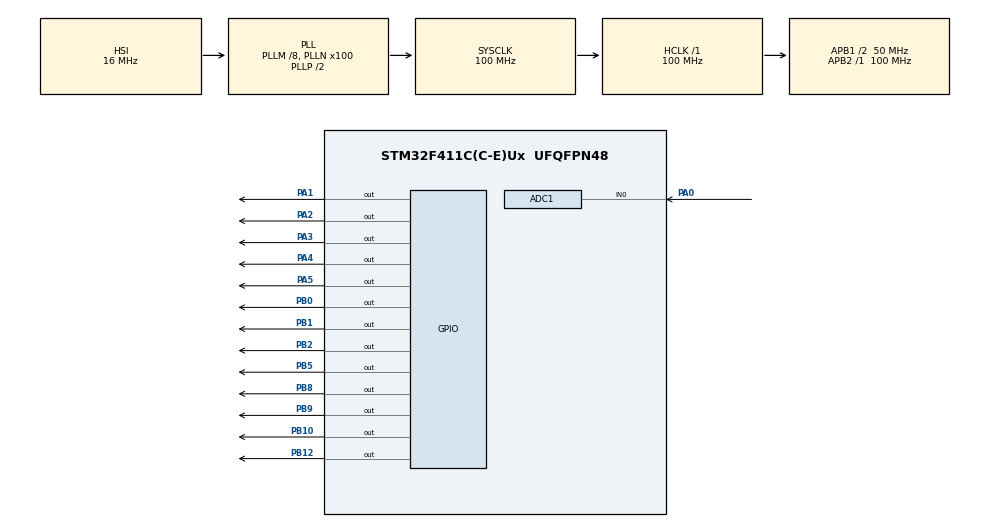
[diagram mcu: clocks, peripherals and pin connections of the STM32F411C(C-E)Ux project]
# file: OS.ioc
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ADC1.Channel-0\#ChannelRegularConversion=ADC_CHANNEL_0
ADC1.DMAContinuousRequests=ENABLE
ADC1.ExternalTrigConv=ADC_EXTERNALTRIGCONV_T2_TRGO
ADC1.NbrOfConversionFlag=1
ADC1.Rank-0\#ChannelRegularConversion=1
ADC1.SamplingTime-0\#ChannelRegularConversion=ADC_SAMPLETIME_3CYCLES
ADC1.master=1
Dma.ADC1.0.Direction=DMA_PERIPH_TO_MEMORY
Dma.ADC1.0.FIFOMode=DMA_FIFOMODE_DISABLE
Dma.ADC1.0.Instance=DMA2_Stream0
Dma.ADC1.0.MemDataAlignment=DMA_MDATAALIGN_HALFWORD
Dma.ADC1.0.MemInc=DMA_MINC_ENABLE
Dma.ADC1.0.Mode=DMA_CIRCULAR
Dma.ADC1.0.PeriphDataAlignment=DMA_PDATAALIGN_HALFWORD
Dma.ADC1.0.PeriphInc=DMA_PINC_DISABLE
Dma.ADC1.0.Priority=DMA_PRIORITY_LOW
Dma.Request0=ADC1
Mcu.Family=STM32F4
Mcu.Name=STM32F411C(C-E)Ux
Mcu.Package=UFQFPN48
NVIC.DMA2_Stream0_IRQn=true\:0\:0\:false\:false\:true\:false\:true\:true
NVIC.PriorityGroup=NVIC_PRIORITYGROUP_4
PA0-WKUP.Signal=ADCx_IN0
PA1.GPIO_Speed=GPIO_SPEED_FREQ_HIGH
PA1.PinState=GPIO_PIN_RESET
PA1.Signal=GPIO_Output
PA13.Mode=Serial_Wire
PA13.Signal=SYS_JTMS-SWDIO
PA14.Mode=Serial_Wire
PA14.Signal=SYS_JTCK-SWCLK
PA2.GPIO_Speed=GPIO_SPEED_FREQ_HIGH
PA2.PinState=GPIO_PIN_RESET
PA2.Signal=GPIO_Output
PA3.GPIO_Speed=GPIO_SPEED_FREQ_HIGH
PA3.Signal=GPIO_Output
PA4.GPIO_Speed=GPIO_SPEED_FREQ_HIGH
PA4.Signal=GPIO_Output
PA5.GPIO_Speed=GPIO_SPEED_FREQ_HIGH
PA5.Signal=GPIO_Output
PB0.GPIO_Speed=GPIO_SPEED_FREQ_HIGH
PB0.Signal=GPIO_Output
PB1.GPIO_Speed=GPIO_SPEED_FREQ_HIGH
PB1.Signal=GPIO_Output
PB10.GPIO_Speed=GPIO_SPEED_FREQ_HIGH
PB10.Signal=GPIO_Output
PB12.GPIO_Speed=GPIO_SPEED_FREQ_HIGH
PB12.Signal=GPIO_Output
PB2.GPIO_Speed=GPIO_SPEED_FREQ_HIGH
PB2.Signal=GPIO_Output
PB5.GPIO_Speed=GPIO_SPEED_FREQ_HIGH
PB5.Signal=GPIO_Output
PB8.GPIO_Speed=GPIO_SPEED_FREQ_HIGH
PB8.Signal=GPIO_Output
PB9.GPIO_Speed=GPIO_SPEED_FREQ_HIGH
PB9.Signal=GPIO_Output
ProjectManager.HeapSize=0x200
ProjectManager.StackSize=0x400
ProjectManager.TargetToolchain=STM32CubeIDE
RCC.48MHZClocksFreq_Value=50000000
RCC.AHBFreq_Value=100000000
RCC.APB1CLKDivider=RCC_HCLK_DIV2
RCC.APB1Freq_Value=50000000
RCC.APB1TimFreq_Value=100000000
RCC.APB2Freq_Value=100000000
RCC.APB2TimFreq_Value=100000000
RCC.CortexFreq_Value=100000000
RCC.HCLKFreq_Value=100000000
RCC.HSE_VALUE=25000000
RCC.HSI_VALUE=16000000
RCC.LSE_VALUE=32768
RCC.PLLM=8
RCC.PLLN=100
RCC.SYSCLKFreq_VALUE=100000000
RCC.SYSCLKSource=RCC_SYSCLKSOURCE_PLLCLK
RCC.VCOOutputFreq_Value=200000000
SH.ADCx_IN0.0=ADC1_IN0,IN0
TIM2.Period=99
TIM2.Prescaler=99
VP_TIM2_VS_ClockSourceINT.Mode=Internal
board=custom

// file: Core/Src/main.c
/* USER CODE BEGIN Header */
/**
  ******************************************************************************
  * @file           : main.c
  * @brief          : Main program body
  ******************************************************************************
  * @attention
  *
  * Copyright (c) 2026 STMicroelectronics.
  * All rights reserved.
  *
  * This software is licensed under terms that can be found in the LICENSE file
  * in the root directory of this software component.
  * If no LICENSE file comes with this software, it is provided AS-IS.
  *
  ******************************************************************************
  */
/* USER CODE END Header */
#include "main.h"

/* USER CODE BEGIN Includes */
#include "lcd.h"
#include "scope.h"
#include "graphics_test.h"
/* USER CODE END Includes */

/* USER CODE BEGIN PD */
#define RUN_GRAPHICS_TEST 1U /* Set to 0 to boot the oscilloscope instead. */
/* USER CODE END PD */

ADC_HandleTypeDef hadc1;
DMA_HandleTypeDef hdma_adc1;

TIM_HandleTypeDef htim2;

void SystemClock_Config(void);
static void MX_GPIO_Init(void);
static void MX_DMA_Init(void);
static void MX_ADC1_Init(void);
static void MX_TIM2_Init(void);

int main(void)
{

  /* MCU Configuration--------------------------------------------------------*/

  /* Reset of all peripherals, Initializes the Flash interface and the Systick. */
  HAL_Init();

  /* Configure the system clock */
  SystemClock_Config();

  /* Initialize all configured peripherals */
  MX_GPIO_Init();
  MX_DMA_Init();
  MX_ADC1_Init();
  MX_TIM2_Init();
  /* USER CODE BEGIN 2 */
  LCD_Init();
#if RUN_GRAPHICS_TEST
  GraphicsTest_Run();
#else
  Scope_Init();
#endif

  /* USER CODE END 2 */

  /* Infinite loop */
  while (1)
  {

    /* USER CODE BEGIN 3 */
#if RUN_GRAPHICS_TEST
      HAL_Delay(1000U); /* Keep benchmark results visible. */
#else
      Scope_Update();
#endif
  }
  /* USER CODE END 3 */
}

void SystemClock_Config(void)
{
  RCC_OscInitTypeDef RCC_OscInitStruct = {0};
  RCC_ClkInitTypeDef RCC_ClkInitStruct = {0};

  /** Configure the main internal regulator output voltage
  */
  __HAL_RCC_PWR_CLK_ENABLE();
  __HAL_PWR_VOLTAGESCALING_CONFIG(PWR_REGULATOR_VOLTAGE_SCALE1);

  /** Initializes the RCC Oscillators according to the specified parameters
  * in the RCC_OscInitTypeDef structure.
  */
  RCC_OscInitStruct.OscillatorType = RCC_OSCILLATORTYPE_HSI;
  RCC_OscInitStruct.HSIState = RCC_HSI_ON;
  RCC_OscInitStruct.HSICalibrationValue = RCC_HSICALIBRATION_DEFAULT;
  RCC_OscInitStruct.PLL.PLLState = RCC_PLL_ON;
  RCC_OscInitStruct.PLL.PLLSource = RCC_PLLSOURCE_HSI;
  RCC_OscInitStruct.PLL.PLLM = 8;
  RCC_OscInitStruct.PLL.PLLN = 100;
  RCC_OscInitStruct.PLL.PLLP = RCC_PLLP_DIV2;
  RCC_OscInitStruct.PLL.PLLQ = 4;
  if (HAL_RCC_OscConfig(&RCC_OscInitStruct) != HAL_OK)
  {
    Error_Handler();
  }

  /** Initializes the CPU, AHB and APB buses clocks
  */
  RCC_ClkInitStruct.ClockType = RCC_CLOCKTYPE_HCLK|RCC_CLOCKTYPE_SYSCLK
                              |RCC_CLOCKTYPE_PCLK1|RCC_CLOCKTYPE_PCLK2;
  RCC_ClkInitStruct.SYSCLKSource = RCC_SYSCLKSOURCE_PLLCLK;
  RCC_ClkInitStruct.AHBCLKDivider = RCC_SYSCLK_DIV1;
  RCC_ClkInitStruct.APB1CLKDivider = RCC_HCLK_DIV2;
  RCC_ClkInitStruct.APB2CLKDivider = RCC_HCLK_DIV1;

  if (HAL_RCC_ClockConfig(&RCC_ClkInitStruct, FLASH_LATENCY_3) != HAL_OK)
  {
    Error_Handler();
  }
}

static void MX_ADC1_Init(void)
{

  ADC_ChannelConfTypeDef sConfig = {0};

  /** Configure the global features of the ADC (Clock, Resolution, Data Alignment and number of conversion)
  */
  hadc1.Instance = ADC1;
  hadc1.Init.ClockPrescaler = ADC_CLOCK_SYNC_PCLK_DIV4;
  hadc1.Init.Resolution = ADC_RESOLUTION_12B;
  hadc1.Init.ScanConvMode = DISABLE;
  hadc1.Init.ContinuousConvMode = DISABLE;
  hadc1.Init.DiscontinuousConvMode = DISABLE;
  hadc1.Init.ExternalTrigConvEdge = ADC_EXTERNALTRIGCONVEDGE_RISING;
  hadc1.Init.ExternalTrigConv = ADC_EXTERNALTRIGCONV_T2_TRGO;
  hadc1.Init.DataAlign = ADC_DATAALIGN_RIGHT;
  hadc1.Init.NbrOfConversion = 1;
  hadc1.Init.DMAContinuousRequests = ENABLE;
  hadc1.Init.EOCSelection = ADC_EOC_SINGLE_CONV;
  if (HAL_ADC_Init(&hadc1) != HAL_OK)
  {
    Error_Handler();
  }

  /** Configure for the selected ADC regular channel its corresponding rank in the sequencer and its sample time.
  */
  sConfig.Channel = ADC_CHANNEL_0;
  sConfig.Rank = 1;
  sConfig.SamplingTime = ADC_SAMPLETIME_3CYCLES;
  if (HAL_ADC_ConfigChannel(&hadc1, &sConfig) != HAL_OK)
  {
    Error_Handler();
  }

}

static void MX_TIM2_Init(void)
{

  TIM_ClockConfigTypeDef sClockSourceConfig = {0};
  TIM_MasterConfigTypeDef sMasterConfig = {0};

  htim2.Instance = TIM2;
  htim2.Init.Prescaler = 99;
  htim2.Init.CounterMode = TIM_COUNTERMODE_UP;
  htim2.Init.Period = 99;
  htim2.Init.ClockDivision = TIM_CLOCKDIVISION_DIV1;
  htim2.Init.AutoReloadPreload = TIM_AUTORELOAD_PRELOAD_DISABLE;
  if (HAL_TIM_Base_Init(&htim2) != HAL_OK)
  {
    Error_Handler();
  }
  sClockSourceConfig.ClockSource = TIM_CLOCKSOURCE_INTERNAL;
  if (HAL_TIM_ConfigClockSource(&htim2, &sClockSourceConfig) != HAL_OK)
  {
    Error_Handler();
  }
  sMasterConfig.MasterOutputTrigger = TIM_TRGO_UPDATE;
  sMasterConfig.MasterSlaveMode = TIM_MASTERSLAVEMODE_DISABLE;
  if (HAL_TIMEx_MasterConfigSynchronization(&htim2, &sMasterConfig) != HAL_OK)
  {
    Error_Handler();
  }

}

static void MX_DMA_Init(void)
{

  /* DMA controller clock enable */
  __HAL_RCC_DMA2_CLK_ENABLE();

  /* DMA interrupt init */
  /* DMA2_Stream0_IRQn interrupt configuration */
  HAL_NVIC_SetPriority(DMA2_Stream0_IRQn, 0, 0);
  HAL_NVIC_EnableIRQ(DMA2_Stream0_IRQn);

}

static void MX_GPIO_Init(void)
{
  GPIO_InitTypeDef GPIO_InitStruct = {0};

  /* GPIO Ports Clock Enable */
  __HAL_RCC_GPIOA_CLK_ENABLE();
  __HAL_RCC_GPIOB_CLK_ENABLE();

  /*Configure GPIO pin Output Level */
  HAL_GPIO_WritePin(GPIOA, GPIO_PIN_1|GPIO_PIN_2|GPIO_PIN_3|GPIO_PIN_4
                          |GPIO_PIN_5, GPIO_PIN_RESET);

  /*Configure GPIO pin Output Level */
  HAL_GPIO_WritePin(GPIOB, GPIO_PIN_0|GPIO_PIN_1|GPIO_PIN_2|GPIO_PIN_10
                          |GPIO_PIN_12|GPIO_PIN_5|GPIO_PIN_8|GPIO_PIN_9, GPIO_PIN_RESET);

  /*Configure GPIO pins : PA1 PA2 PA3 PA4
                           PA5 */
  GPIO_InitStruct.Pin = GPIO_PIN_1|GPIO_PIN_2|GPIO_PIN_3|GPIO_PIN_4
                          |GPIO_PIN_5;
  GPIO_InitStruct.Mode = GPIO_MODE_OUTPUT_PP;
  GPIO_InitStruct.Pull = GPIO_NOPULL;
  GPIO_InitStruct.Speed = GPIO_SPEED_FREQ_HIGH;
  HAL_GPIO_Init(GPIOA, &GPIO_InitStruct);

  /*Configure GPIO pins : PB0 PB1 PB2 PB10
                           PB12 PB5 PB8 PB9 */
  GPIO_InitStruct.Pin = GPIO_PIN_0|GPIO_PIN_1|GPIO_PIN_2|GPIO_PIN_10
                          |GPIO_PIN_12|GPIO_PIN_5|GPIO_PIN_8|GPIO_PIN_9;
  GPIO_InitStruct.Mode = GPIO_MODE_OUTPUT_PP;
  GPIO_InitStruct.Pull = GPIO_NOPULL;
  GPIO_InitStruct.Speed = GPIO_SPEED_FREQ_HIGH;
  HAL_GPIO_Init(GPIOB, &GPIO_InitStruct);

}

void Error_Handler(void)
{
  __disable_irq();
  while (1)
  {
  }
}
